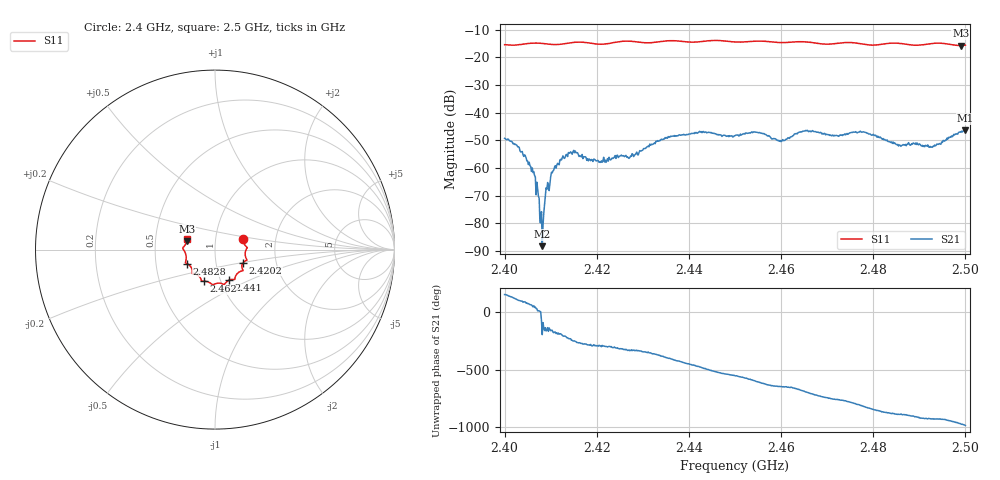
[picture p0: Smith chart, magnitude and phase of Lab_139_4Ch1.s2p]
# Hz S RI R 50
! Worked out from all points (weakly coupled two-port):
!   601 points, 2.4 GHz to 2.5 GHz, reference 50 ohm
!   highest |S21| = -46.38 dB at 2.5 GHz (marker M1); lowest = -88.3 dB at 2.4082 GHz (marker M2)
!   lowest |S11| = -15.8 dB at 2.499 GHz (marker M3), VSWR 1.39, Z = 36.4 + j3.58 ohm
!   |S11| at or under -10 dB: start of sweep to end of sweep
!   S12 and S22 are empty: the file has one direction only
!   S11 on the Smith chart (normalised r, x): 2.4 GHz: 1.36, +0.17; 2.4202 GHz: 1.36, -0.20; 2.441 GHz: 1.10, -0.39; 2.462 GHz: 0.83, -0.30; 2.4828 GHz: 0.72, -0.12; 2.5 GHz: 0.73, +0.09
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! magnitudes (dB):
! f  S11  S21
! 2.4 GHz  -15.5  -49.3
! 2.4027 GHz  -15.6  -51.8
! 2.4058 GHz  -14.9  -61.3
! 2.4068 GHz  -14.9  -69.7
! 2.4082 GHz  -15.0  -88.3
! 2.4092 GHz  -15.2  -67.7
! 2.4107 GHz  -15.4  -60.8
! 2.4138 GHz  -14.9  -54.4
! 2.4167 GHz  -14.6  -56.0
! 2.4202 GHz  -15.3  -57.3
! 2.427 GHz  -14.2  -56.5
! 2.4333 GHz  -14.5  -50.4
! 2.441 GHz  -14.6  -47.5
! 2.45 GHz  -14.5  -48.3
! 2.462 GHz  -14.6  -48.8
! 2.4667 GHz  -14.7  -46.7
! 2.4777 GHz  -15.3  -47.0
! 2.4828 GHz  -15.1  -50.1
! 2.4833 GHz  -15.0  -50.5
! 2.4927 GHz  -15.0  -52.4
! 2.499 GHz  -15.8  -47.1
! 2.5 GHz  -15.6  -46.4
